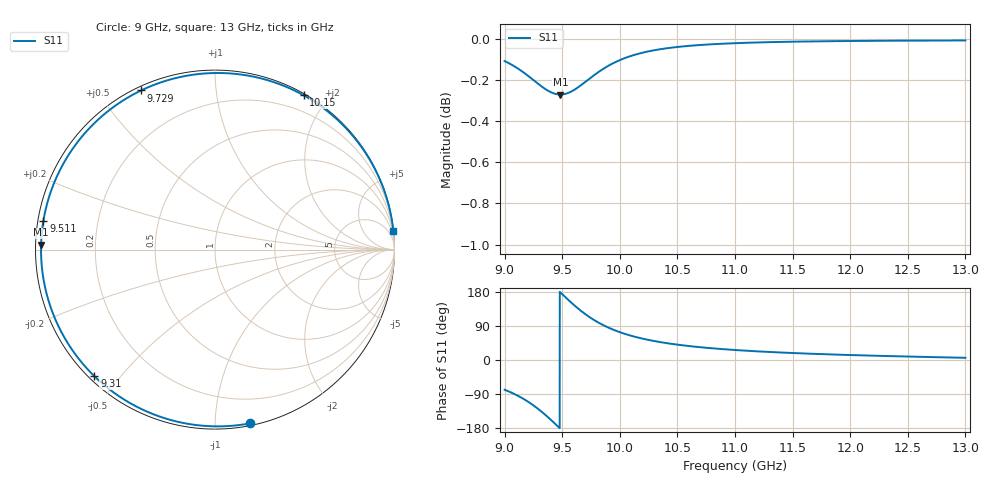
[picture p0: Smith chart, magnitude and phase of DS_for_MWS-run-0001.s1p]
! TOUCHSTONE file generated by CST DESIGN STUDIO
! Date and time: Tue Feb  4 18:01:57 2025
! Project name: C:\Work\MatlabApps\UnitCellOptimizationMatlab\CST\unitcell.cst
! Tree item: Tasks\Sweep1\SPara1\S-Parameters
! Header version: 2024
! Port assignment regex: !\s*Touchstone port\s*([0-9]+)\s*=\s*(CST MWS port|CST DES external port|CST DES block port)\s*(.+)\s* \(\"(.*)\"\)(\s*mode\s*([0-9]+))?.*
! Touchstone port assignment:
! Touchstone port 1 = CST DES external port 1 ("")
# GHz S MA R 50
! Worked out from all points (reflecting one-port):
!   4001 points, 9 GHz to 13 GHz, reference 50 ohm
!   lowest |S11| = -0.3 dB at 9.484 GHz (marker M1), VSWR 64.27, Z = 0.778 + j0.699 ohm
!   phase of S11 starts at -78 deg and turns -276 deg over the sweep
!   S11 on the Smith chart (normalised r, x): 9 GHz: 0.02, -1.22; 9.31 GHz: 0.02, -0.43; 9.511 GHz: 0.02, +0.08; 9.729 GHz: 0.02, +0.64; 10.15 GHz: 0.02, +1.73; 13 GHz: 0, +20
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9  0.9877 -78.5
9.078  0.985 -88.7
9.176  0.9809 -104.8
9.245  0.9775 -118.6
9.31  0.9743 -133.6
9.356  0.9722 -145.4
9.404  0.9705 -158.6
9.445  0.9696 -170.3
9.484  0.9694 178.4
9.5  0.9694 173.7
9.511  0.9695 170.6
9.564  0.9705 155.5
9.624  0.9727 139.4
9.676  0.975 126.6
9.729  0.9776 114.9
9.784  0.9802 104.1
9.844  0.9829 93.9
9.921  0.9858 82.8
10  0.9882 73.4
10.146  0.9915 60.1
10.306  0.9938 49.6
10.5  0.9955 40.5
10.722  0.9967 33.0
11  0.9976 26.4
11.5  0.9984 18.4
12  0.9988 13.1
12.5  0.999 9.1
13  0.9991 5.8
